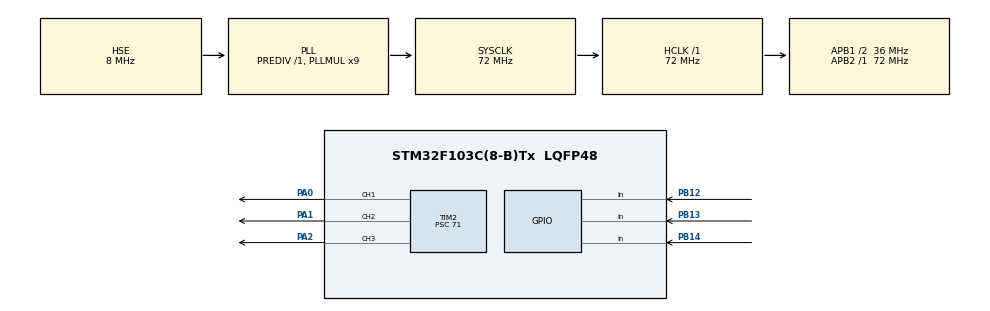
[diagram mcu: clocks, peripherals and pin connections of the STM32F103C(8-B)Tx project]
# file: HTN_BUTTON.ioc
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FREERTOS.Queues01=LED1Queue,1,uint32_t,0,Dynamic,NULL,NULL;LED2Queue,1,uint32_t,0,Dynamic,NULL,NULL;LED3Queue,1,uint32_t,0,Dynamic,NULL,NULL
FREERTOS.Tasks01=defaultTask,24,128,StartDefaultTask,Default,NULL,Dynamic,NULL,NULL;ButtonTask,24,128,StartTask02,Default,NULL,Dynamic,NULL,NULL;LED1Task,24,128,StartTask03,Default,NULL,Dynamic,NULL,NULL;LED2Task,24,128,StartTask04,Default,NULL,Dynamic,NULL,NULL;LED3Task,24,128,StartTask05,Default,NULL,Dynamic,NULL,NULL
FREERTOS.configTOTAL_HEAP_SIZE=4096
Mcu.Family=STM32F1
Mcu.Name=STM32F103C(8-B)Tx
Mcu.Package=LQFP48
NVIC.PriorityGroup=NVIC_PRIORITYGROUP_4
PA0-WKUP.Signal=S_TIM2_CH1_ETR
PA1.Signal=S_TIM2_CH2
PA2.Signal=S_TIM2_CH3
PB12.GPIO_PuPd=GPIO_PULLUP
PB12.Signal=GPIO_Input
PB13.GPIO_PuPd=GPIO_PULLUP
PB13.Signal=GPIO_Input
PB14.GPIO_PuPd=GPIO_PULLUP
PB14.Signal=GPIO_Input
PD0-OSC_IN.Mode=HSE-External-Oscillator
PD0-OSC_IN.Signal=RCC_OSC_IN
PD1-OSC_OUT.Mode=HSE-External-Oscillator
PD1-OSC_OUT.Signal=RCC_OSC_OUT
ProjectManager.HeapSize=0x200
ProjectManager.StackSize=0x400
ProjectManager.TargetToolchain=MDK-ARM V5.32
RCC.AHBFreq_Value=72000000
RCC.APB1CLKDivider=RCC_HCLK_DIV2
RCC.APB1Freq_Value=36000000
RCC.APB1TimFreq_Value=72000000
RCC.APB2Freq_Value=72000000
RCC.APB2TimFreq_Value=72000000
RCC.HCLKFreq_Value=72000000
RCC.PLLMUL=RCC_PLL_MUL9
RCC.PLLSourceVirtual=RCC_PLLSOURCE_HSE
RCC.SYSCLKFreq_VALUE=72000000
RCC.SYSCLKSource=RCC_SYSCLKSOURCE_PLLCLK
RCC.USBFreq_Value=72000000
SH.S_TIM2_CH1_ETR.0=TIM2_CH1,PWM Generation1 CH1
SH.S_TIM2_CH2.0=TIM2_CH2,PWM Generation2 CH2
SH.S_TIM2_CH3.0=TIM2_CH3,PWM Generation3 CH3
TIM2.Channel-PWM\ Generation1\ CH1=TIM_CHANNEL_1
TIM2.Channel-PWM\ Generation2\ CH2=TIM_CHANNEL_2
TIM2.Channel-PWM\ Generation3\ CH3=TIM_CHANNEL_3
TIM2.Prescaler=71
VP_FREERTOS_VS_CMSIS_V2.Mode=CMSIS_V2
VP_SYS_VS_ND.Mode=No_Debug
VP_TIM2_VS_ClockSourceINT.Mode=Internal
board=custom

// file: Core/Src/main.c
/* USER CODE BEGIN Header */
/**
  ******************************************************************************
  * @file           : main.c
  * @brief          : Main program body
  ******************************************************************************
  * @attention
  *
  * Copyright (c) 2026 STMicroelectronics.
  * All rights reserved.
  *
  * This software is licensed under terms that can be found in the LICENSE file
  * in the root directory of this software component.
  * If no LICENSE file comes with this software, it is provided AS-IS.
  *
  ******************************************************************************
  */
/* USER CODE END Header */
#include "main.h"
#include "cmsis_os2.h"
#include "tim.h"
#include "gpio.h"

/* USER CODE BEGIN PV */
	volatile uint32_t button_state_12 = 0;
volatile uint32_t button_state_13 = 0;
volatile uint32_t button_state_14 = 0;
/* USER CODE END PV */

void SystemClock_Config(void);
void MX_FREERTOS_Init(void);

int main(void)
{

  /* MCU Configuration--------------------------------------------------------*/

  /* Reset of all peripherals, Initializes the Flash interface and the Systick. */
  HAL_Init();

  /* Configure the system clock */
  SystemClock_Config();

  /* Initialize all configured peripherals */
  MX_GPIO_Init();
  MX_TIM2_Init();

  /* Init scheduler */
  osKernelInitialize();  /* Call init function for freertos objects (in cmsis_os2.c) */
  MX_FREERTOS_Init();

  /* Start scheduler */
  osKernelStart();

  /* We should never get here as control is now taken by the scheduler */

  /* Infinite loop */
  while (1)
  {

  }
}

void SystemClock_Config(void)
{
  RCC_OscInitTypeDef RCC_OscInitStruct = {0};
  RCC_ClkInitTypeDef RCC_ClkInitStruct = {0};

  /** Initializes the RCC Oscillators according to the specified parameters
  * in the RCC_OscInitTypeDef structure.
  */
  RCC_OscInitStruct.OscillatorType = RCC_OSCILLATORTYPE_HSE;
  RCC_OscInitStruct.HSEState = RCC_HSE_ON;
  RCC_OscInitStruct.HSEPredivValue = RCC_HSE_PREDIV_DIV1;
  RCC_OscInitStruct.HSIState = RCC_HSI_ON;
  RCC_OscInitStruct.PLL.PLLState = RCC_PLL_ON;
  RCC_OscInitStruct.PLL.PLLSource = RCC_PLLSOURCE_HSE;
  RCC_OscInitStruct.PLL.PLLMUL = RCC_PLL_MUL9;
  if (HAL_RCC_OscConfig(&RCC_OscInitStruct) != HAL_OK)
  {
    Error_Handler();
  }

  /** Initializes the CPU, AHB and APB buses clocks
  */
  RCC_ClkInitStruct.ClockType = RCC_CLOCKTYPE_HCLK|RCC_CLOCKTYPE_SYSCLK
                              |RCC_CLOCKTYPE_PCLK1|RCC_CLOCKTYPE_PCLK2;
  RCC_ClkInitStruct.SYSCLKSource = RCC_SYSCLKSOURCE_PLLCLK;
  RCC_ClkInitStruct.AHBCLKDivider = RCC_SYSCLK_DIV1;
  RCC_ClkInitStruct.APB1CLKDivider = RCC_HCLK_DIV2;
  RCC_ClkInitStruct.APB2CLKDivider = RCC_HCLK_DIV1;

  if (HAL_RCC_ClockConfig(&RCC_ClkInitStruct, FLASH_LATENCY_2) != HAL_OK)
  {
    Error_Handler();
  }
}

void Error_Handler(void)
{
  __disable_irq();
  while (1)
  {
  }
}

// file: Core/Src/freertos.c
/* USER CODE BEGIN Header */
/**
  ******************************************************************************
  * File Name          : freertos.c
  * Description        : Code for freertos applications
  ******************************************************************************
  * @attention
  *
  * Copyright (c) 2026 STMicroelectronics.
  * All rights reserved.
  *
  * This software is licensed under terms that can be found in the LICENSE file
  * in the root directory of this software component.
  * If no LICENSE file comes with this software, it is provided AS-IS.
  *
  ******************************************************************************
  */
/* USER CODE END Header */

#include "FreeRTOS.h"
#include "task.h"
#include "main.h"
#include "cmsis_os2.h"
#include "tim.h"
#include <stdint.h>

/* Definitions for defaultTask */
osThreadId_t defaultTaskHandle;
const osThreadAttr_t defaultTask_attributes = {
  .name = "defaultTask",
  .stack_size = 128 * 4,
  .priority = (osPriority_t) osPriorityNormal,
};
/* Definitions for ButtonTask */
osThreadId_t ButtonTaskHandle;
const osThreadAttr_t ButtonTask_attributes = {
  .name = "ButtonTask",
  .stack_size = 128 * 4,
  .priority = (osPriority_t) osPriorityNormal,
};
/* Definitions for LED1Task */
osThreadId_t LED1TaskHandle;
const osThreadAttr_t LED1Task_attributes = {
  .name = "LED1Task",
  .stack_size = 128 * 4,
  .priority = (osPriority_t) osPriorityNormal,
};
/* Definitions for LED2Task */
osThreadId_t LED2TaskHandle;
const osThreadAttr_t LED2Task_attributes = {
  .name = "LED2Task",
  .stack_size = 128 * 4,
  .priority = (osPriority_t) osPriorityNormal,
};
/* Definitions for LED3Task */
osThreadId_t LED3TaskHandle;
const osThreadAttr_t LED3Task_attributes = {
  .name = "LED3Task",
  .stack_size = 128 * 4,
  .priority = (osPriority_t) osPriorityNormal,
};
/* Definitions for LED1Queue */
osMessageQueueId_t LED1QueueHandle;
const osMessageQueueAttr_t LED1Queue_attributes = {
  .name = "LED1Queue"
};
/* Definitions for LED2Queue */
osMessageQueueId_t LED2QueueHandle;
const osMessageQueueAttr_t LED2Queue_attributes = {
  .name = "LED2Queue"
};
/* Definitions for LED3Queue */
osMessageQueueId_t LED3QueueHandle;
const osMessageQueueAttr_t LED3Queue_attributes = {
  .name = "LED3Queue"
};

/* USER CODE BEGIN FunctionPrototypes */
static void SendBrightness(uint32_t led, uint32_t value);

/* USER CODE END FunctionPrototypes */

void StartDefaultTask(void *argument);
void StartTask02(void *argument);
void StartTask03(void *argument);
void StartTask04(void *argument);
void StartTask05(void *argument);

void MX_FREERTOS_Init(void); /* (MISRA C 2004 rule 8.1) */

void MX_FREERTOS_Init(void) {

  /* Create the queue(s) */
  /* creation of LED1Queue */
  LED1QueueHandle = osMessageQueueNew (1, sizeof(uint32_t), &LED1Queue_attributes);

  /* creation of LED2Queue */
  LED2QueueHandle = osMessageQueueNew (1, sizeof(uint32_t), &LED2Queue_attributes);

  /* creation of LED3Queue */
  LED3QueueHandle = osMessageQueueNew (1, sizeof(uint32_t), &LED3Queue_attributes);

  /* Create the thread(s) */
  /* creation of defaultTask */
  defaultTaskHandle = osThreadNew(StartDefaultTask, NULL, &defaultTask_attributes);

  /* creation of ButtonTask */
  ButtonTaskHandle = osThreadNew(StartTask02, NULL, &ButtonTask_attributes);

  /* creation of LED1Task */
  LED1TaskHandle = osThreadNew(StartTask03, NULL, &LED1Task_attributes);

  /* creation of LED2Task */
  LED2TaskHandle = osThreadNew(StartTask04, NULL, &LED2Task_attributes);

  /* creation of LED3Task */
  LED3TaskHandle = osThreadNew(StartTask05, NULL, &LED3Task_attributes);

}

void StartDefaultTask(void *argument)
{
  for(;;)
  {
    osDelay(1);
  }
}

void StartTask02(void *argument)
{

  /* USER CODE BEGIN StartTask02 */
  /* Infinite loop */
 uint32_t brightness[3] = {0U, 0U, 0U};
uint32_t selectedLed = 0U;

GPIO_PinState prevSelect = GPIO_PIN_SET;
GPIO_PinState prevIncrease = GPIO_PIN_SET;
GPIO_PinState prevDecrease = GPIO_PIN_SET;

for (;;)
{
    GPIO_PinState selectNow =
        HAL_GPIO_ReadPin(GPIOB, GPIO_PIN_12);

    GPIO_PinState increaseNow =
        HAL_GPIO_ReadPin(GPIOB, GPIO_PIN_13);

    GPIO_PinState decreaseNow =
        HAL_GPIO_ReadPin(GPIOB, GPIO_PIN_14);

    /* Nut 1: chuyen LED */
    if ((prevSelect == GPIO_PIN_SET) &&
        (selectNow == GPIO_PIN_RESET))
    {
        osDelay(20U);

        if (HAL_GPIO_ReadPin(GPIOB, GPIO_PIN_12)
            == GPIO_PIN_RESET)
        {
            selectedLed = (selectedLed + 1U) % 3U;
        }
    }

    /* Nut 2: tang do sang 10% */
    if ((prevIncrease == GPIO_PIN_SET) &&
        (increaseNow == GPIO_PIN_RESET))
    {
        osDelay(20U);

        if (HAL_GPIO_ReadPin(GPIOB, GPIO_PIN_13)
            == GPIO_PIN_RESET)
        {
            if (brightness[selectedLed] < 100U)
            {
                brightness[selectedLed] += 10U;

                if (brightness[selectedLed] > 100U)
                {
                    brightness[selectedLed] = 100U;
                }

                SendBrightness(selectedLed,
                               brightness[selectedLed]);
            }
        }
    }

    /* Nut 3: giam do sang 10% */
    if ((prevDecrease == GPIO_PIN_SET) &&
        (decreaseNow == GPIO_PIN_RESET))
    {
        osDelay(20U);

        if (HAL_GPIO_ReadPin(GPIOB, GPIO_PIN_14)
            == GPIO_PIN_RESET)
        {
            if (brightness[selectedLed] >= 10U)
            {
                brightness[selectedLed] -= 10U;
            }
            else
            {
                brightness[selectedLed] = 0U;
            }

            SendBrightness(selectedLed,
                           brightness[selectedLed]);
        }
    }

    prevSelect = selectNow;
    prevIncrease = increaseNow;
    prevDecrease = decreaseNow;

    osDelay(10U);
}
  /* USER CODE END StartTask02 */
}

void StartTask03(void *argument)
{
  /* USER CODE BEGIN StartTask03 */
  /* Infinite loop */
  uint32_t brightness = 0U;
uint32_t pulse;

if (LED1QueueHandle != NULL)
{
    HAL_TIM_PWM_Start(&htim2, TIM_CHANNEL_1);
    __HAL_TIM_SET_COMPARE(&htim2, TIM_CHANNEL_1, 0U);

    for (;;)
    {
        if (osMessageQueueGet(LED1QueueHandle,
                              &brightness,
                              NULL,
                              osWaitForever) == osOK)
        {
            if (brightness > 100U)
                brightness = 100U;

            pulse = (brightness * 999U) / 100U;

            __HAL_TIM_SET_COMPARE(&htim2,
                                  TIM_CHANNEL_1,
                                  pulse);
        }
    }
}
else
{
    for (;;)
    {
        osDelay(100U);
    }
}
  /* USER CODE END StartTask03 */
}

void StartTask04(void *argument)
{
  /* USER CODE BEGIN StartTask04 */
  /* Infinite loop */
  uint32_t brightness = 0U;
uint32_t pulse;

if (LED2QueueHandle != NULL)
{
    HAL_TIM_PWM_Start(&htim2, TIM_CHANNEL_2);
    __HAL_TIM_SET_COMPARE(&htim2, TIM_CHANNEL_2, 0U);

    for (;;)
    {
        if (osMessageQueueGet(LED2QueueHandle,
                              &brightness,
                              NULL,
                              osWaitForever) == osOK)
        {
            if (brightness > 100U)
                brightness = 100U;

            pulse = (brightness * 999U) / 100U;

            __HAL_TIM_SET_COMPARE(&htim2,
                                  TIM_CHANNEL_2,
                                  pulse);
        }
    }
}
else
{
    for (;;)
    {
        osDelay(100U);
    }
}
  /* USER CODE END StartTask04 */
}

void StartTask05(void *argument)
{
  /* USER CODE BEGIN StartTask05 */
  /* Infinite loop */
  uint32_t brightness = 0U;
uint32_t pulse;

if (LED3QueueHandle != NULL)
{
    HAL_TIM_PWM_Start(&htim2, TIM_CHANNEL_3);
    __HAL_TIM_SET_COMPARE(&htim2, TIM_CHANNEL_3, 0U);

    for (;;)
    {
        if (osMessageQueueGet(LED3QueueHandle,
                              &brightness,
                              NULL,
                              osWaitForever) == osOK)
        {
            if (brightness > 100U)
                brightness = 100U;

            pulse = (brightness * 999U) / 100U;

            __HAL_TIM_SET_COMPARE(&htim2,
                                  TIM_CHANNEL_3,
                                  pulse);
        }
    }
}
else
{
    for (;;)
    {
        osDelay(100U);
    }
}

  /* USER CODE END StartTask05 */
}

/* USER CODE BEGIN Application */
static void SendBrightness(uint32_t led, uint32_t value)
{
    osMessageQueueId_t queue;
    uint32_t oldValue;

    switch (led)
    {
        case 0U:
            queue = LED1QueueHandle;
            break;

        case 1U:
            queue = LED2QueueHandle;
            break;

        case 2U:
            queue = LED3QueueHandle;
            break;

        default:
            return;
    }

    if (queue == NULL)
        return;

    /* Gui muc sang moi, khong cho task nut nhan bi block */
    if (osMessageQueuePut(queue, &value, 0U, 0U) != osOK)
    {
        /* Queue day: bo muc cu va gui muc moi nhat */
        (void)osMessageQueueGet(queue,
                                &oldValue,
                                NULL,
                                0U);

        (void)osMessageQueuePut(queue,
                                &value,
                                0U,
                                0U);
    }
}
/* USER CODE END Application */
